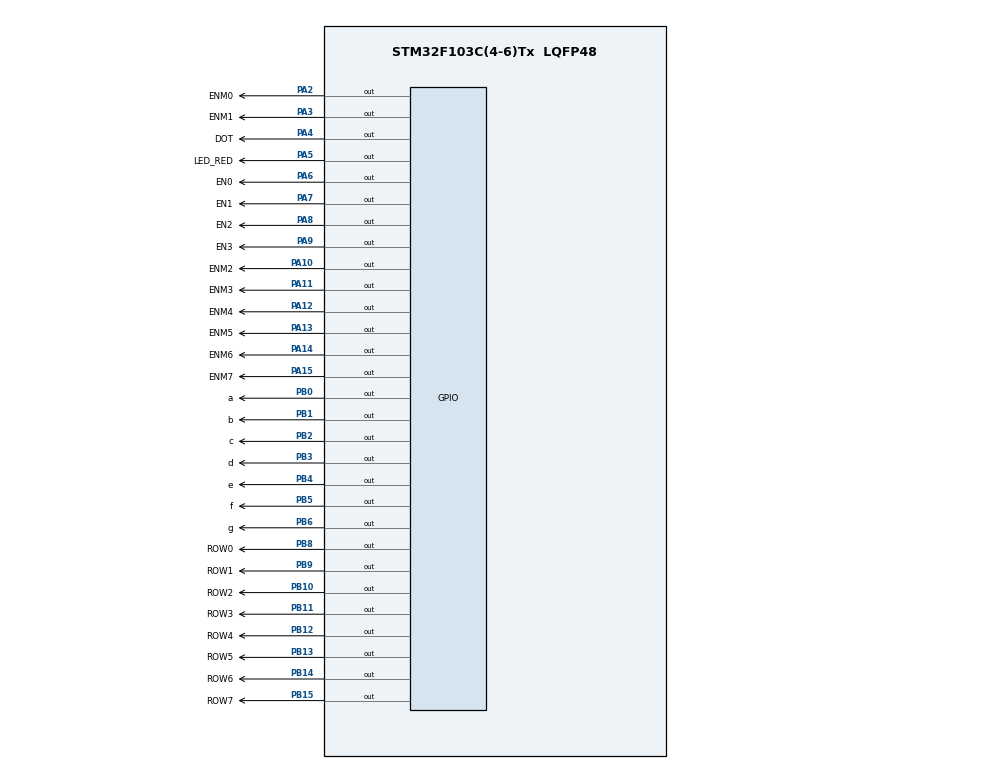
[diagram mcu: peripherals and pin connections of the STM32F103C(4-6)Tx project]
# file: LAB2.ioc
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Mcu.Family=STM32F1
Mcu.Name=STM32F103C(4-6)Tx
Mcu.Package=LQFP48
NVIC.PriorityGroup=NVIC_PRIORITYGROUP_4
NVIC.TIM2_IRQn=true\:0\:0\:false\:false\:true\:true\:true
PA10.GPIO_Label=ENM2
PA10.Signal=GPIO_Output
PA11.GPIO_Label=ENM3
PA11.Signal=GPIO_Output
PA12.GPIO_Label=ENM4
PA12.Signal=GPIO_Output
PA13.GPIO_Label=ENM5
PA13.Signal=GPIO_Output
PA14.GPIO_Label=ENM6
PA14.Signal=GPIO_Output
PA15.GPIO_Label=ENM7
PA15.Signal=GPIO_Output
PA2.GPIO_Label=ENM0
PA2.Signal=GPIO_Output
PA3.GPIO_Label=ENM1
PA3.Signal=GPIO_Output
PA4.GPIO_Label=DOT
PA4.Signal=GPIO_Output
PA5.GPIO_Label=LED_RED
PA5.Signal=GPIO_Output
PA6.GPIO_Label=EN0
PA6.Signal=GPIO_Output
PA7.GPIO_Label=EN1
PA7.Signal=GPIO_Output
PA8.GPIO_Label=EN2
PA8.Signal=GPIO_Output
PA9.GPIO_Label=EN3
PA9.Signal=GPIO_Output
PB0.GPIO_Label=a
PB0.Signal=GPIO_Output
PB1.GPIO_Label=b
PB1.Signal=GPIO_Output
PB10.GPIO_Label=ROW2
PB10.Signal=GPIO_Output
PB11.GPIO_Label=ROW3
PB11.Signal=GPIO_Output
PB12.GPIO_Label=ROW4
PB12.Signal=GPIO_Output
PB13.GPIO_Label=ROW5
PB13.Signal=GPIO_Output
PB14.GPIO_Label=ROW6
PB14.Signal=GPIO_Output
PB15.GPIO_Label=ROW7
PB15.Signal=GPIO_Output
PB2.GPIO_Label=c
PB2.Signal=GPIO_Output
PB3.GPIO_Label=d
PB3.Signal=GPIO_Output
PB4.GPIO_Label=e
PB4.Signal=GPIO_Output
PB5.GPIO_Label=f
PB5.Signal=GPIO_Output
PB6.GPIO_Label=g
PB6.Signal=GPIO_Output
PB8.GPIO_Label=ROW0
PB8.Signal=GPIO_Output
PB9.GPIO_Label=ROW1
PB9.Signal=GPIO_Output
ProjectManager.HeapSize=0x200
ProjectManager.StackSize=0x400
ProjectManager.TargetToolchain=STM32CubeIDE
RCC.APB1Freq_Value=8000000
RCC.APB2Freq_Value=8000000
TIM2.Period=9
TIM2.Prescaler=7999
VP_SYS_VS_ND.Mode=No_Debug
VP_TIM2_VS_ClockSourceINT.Mode=Internal
board=custom

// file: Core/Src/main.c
/* USER CODE BEGIN Header */
/**
  ******************************************************************************
  * @file           : main.c
  * @brief          : Main program body
  ******************************************************************************
  * @attention
  *
  * <h2><center>&copy; Copyright (c) 2024 STMicroelectronics.
  * All rights reserved.</center></h2>
  *
  * This software component is licensed by ST under BSD 3-Clause license,
  * the "License"; You may not use this file except in compliance with the
  * License. You may obtain a copy of the License at:
  *                        opensource.org/licenses/BSD-3-Clause
  *
  ******************************************************************************
  */
/* USER CODE END Header */
#include "main.h"

/* USER CODE BEGIN Includes */
#include "software_timer.h"
/* USER CODE END Includes */

TIM_HandleTypeDef htim2;

void SystemClock_Config(void);
static void MX_GPIO_Init(void);
static void MX_TIM2_Init(void);

/* USER CODE BEGIN 0 */
const uint8_t Led7Seg[] = { 0b11000000, 0b11111001, 0b10100100, 0b10110000, 0b10011001, 0b10010010,
		0b10000010, 0b11111000, 0b10000000, 0b10010000  };
const int MAX_LED = 4;
  int index_led = 0;
void display7SEG(int num){
	uint8_t led_id = Led7Seg[num];
	HAL_GPIO_WritePin(a_GPIO_Port, a_Pin, (led_id & 0x01) );
	HAL_GPIO_WritePin(b_GPIO_Port, b_Pin, ((led_id>>1) & 0x01) );
	HAL_GPIO_WritePin(c_GPIO_Port, c_Pin, ((led_id>>2) & 0x01) );
	HAL_GPIO_WritePin(d_GPIO_Port, d_Pin, ((led_id>>3) & 0x01) );
	HAL_GPIO_WritePin(e_GPIO_Port, e_Pin, ((led_id>>4) & 0x01) );
	HAL_GPIO_WritePin(f_GPIO_Port, f_Pin, ((led_id>>5) & 0x01) );
	HAL_GPIO_WritePin(g_GPIO_Port, g_Pin, ((led_id>>6) & 0x01) );
}

void clearAll(){
	HAL_GPIO_WritePin(GPIOA, EN0_Pin | EN1_Pin |EN2_Pin | EN3_Pin, SET);
	HAL_GPIO_WritePin(GPIOB, a_Pin | b_Pin | c_Pin | d_Pin | e_Pin | f_Pin | g_Pin, SET);
}

int en_pin[4]={ EN0_Pin, EN1_Pin,EN2_Pin,EN3_Pin};

void en_Pin(int number){
	HAL_GPIO_WritePin(GPIOA, en_pin[number] , RESET);
}
int led_buffer [4] = {1 , 2 , 3 , 4};
void update7SEG(int index){
	clearAll();
	switch (index){
	case 0:{
		display7SEG(led_buffer[0]);
		en_Pin(0);
		break;
	}
	case 1:{
			display7SEG(led_buffer[1]);
			en_Pin(1);
			break;
		}
	case 2:{
			display7SEG(led_buffer[2]);
			en_Pin(2);
			break;
		}
	case 3:{
			display7SEG(led_buffer[3]);
			en_Pin(3);
			break;
		}
	default:
		break;
	}
}
int hour = 15 , minute = 8 , second = 50;

void updateClockBuffer(){
		led_buffer[0] = hour/10;
		led_buffer[1] = hour%10;
		led_buffer[2] = minute/10;
		led_buffer[3] = minute%10;
}

/* USER CODE END 0 */

int main(void)
{

  /* MCU Configuration--------------------------------------------------------*/

  /* Reset of all peripherals, Initializes the Flash interface and the Systick. */
  HAL_Init();

  /* Configure the system clock */
  SystemClock_Config();

  /* Initialize all configured peripherals */
  MX_GPIO_Init();
  MX_TIM2_Init();
  /* USER CODE BEGIN 2 */
  HAL_TIM_Base_Start_IT(&htim2);
  /* USER CODE END 2 */

  /* Infinite loop */
  /* USER CODE BEGIN WHILE */
  setTimer1(100);
  setTimer2(25);
  setTimer3(100);

  while (1)
  {

	  	  	  if (timer1_flag == 1){
	  	  		  setTimer1(100);
	  	  		  second++;
	  	  		  if(second>=60){
	  	  			  second=0;
	  	  			  minute++;
	  	  		  }
	  	  		  if(minute>=60){
	  	  			  minute=0;
	  	  			  hour++;
	  	  		  }
	  	  		  if(hour>=24){
	  	  			 hour=0;
	  	  		  }
	  	  		  updateClockBuffer();
	  	  	  }
	  	  	  if(timer2_flag==1){
	  	  		  setTimer2(25);
	  	  		  update7SEG(index_led++);
	  	  		  if(index_led >= MAX_LED)
	  	  			  index_led = 0 ;
	  				}
	  	  	  if(timer3_flag == 1){
	  	  		  setTimer3(100) ;
	  			HAL_GPIO_TogglePin(LED_RED_GPIO_Port, LED_RED_Pin) ;
	  			HAL_GPIO_TogglePin(DOT_GPIO_Port, DOT_Pin);
	  	  	  }
    /* USER CODE END WHILE */

  }
}

void SystemClock_Config(void)
{
  RCC_OscInitTypeDef RCC_OscInitStruct = {0};
  RCC_ClkInitTypeDef RCC_ClkInitStruct = {0};

  /** Initializes the RCC Oscillators according to the specified parameters
  * in the RCC_OscInitTypeDef structure.
  */
  RCC_OscInitStruct.OscillatorType = RCC_OSCILLATORTYPE_HSI;
  RCC_OscInitStruct.HSIState = RCC_HSI_ON;
  RCC_OscInitStruct.HSICalibrationValue = RCC_HSICALIBRATION_DEFAULT;
  RCC_OscInitStruct.PLL.PLLState = RCC_PLL_NONE;
  if (HAL_RCC_OscConfig(&RCC_OscInitStruct) != HAL_OK)
  {
    Error_Handler();
  }
  /** Initializes the CPU, AHB and APB buses clocks
  */
  RCC_ClkInitStruct.ClockType = RCC_CLOCKTYPE_HCLK|RCC_CLOCKTYPE_SYSCLK
                              |RCC_CLOCKTYPE_PCLK1|RCC_CLOCKTYPE_PCLK2;
  RCC_ClkInitStruct.SYSCLKSource = RCC_SYSCLKSOURCE_HSI;
  RCC_ClkInitStruct.AHBCLKDivider = RCC_SYSCLK_DIV1;
  RCC_ClkInitStruct.APB1CLKDivider = RCC_HCLK_DIV1;
  RCC_ClkInitStruct.APB2CLKDivider = RCC_HCLK_DIV1;

  if (HAL_RCC_ClockConfig(&RCC_ClkInitStruct, FLASH_LATENCY_0) != HAL_OK)
  {
    Error_Handler();
  }
}

static void MX_TIM2_Init(void)
{

  TIM_ClockConfigTypeDef sClockSourceConfig = {0};
  TIM_MasterConfigTypeDef sMasterConfig = {0};

  htim2.Instance = TIM2;
  htim2.Init.Prescaler = 7999;
  htim2.Init.CounterMode = TIM_COUNTERMODE_UP;
  htim2.Init.Period = 9;
  htim2.Init.ClockDivision = TIM_CLOCKDIVISION_DIV1;
  htim2.Init.AutoReloadPreload = TIM_AUTORELOAD_PRELOAD_DISABLE;
  if (HAL_TIM_Base_Init(&htim2) != HAL_OK)
  {
    Error_Handler();
  }
  sClockSourceConfig.ClockSource = TIM_CLOCKSOURCE_INTERNAL;
  if (HAL_TIM_ConfigClockSource(&htim2, &sClockSourceConfig) != HAL_OK)
  {
    Error_Handler();
  }
  sMasterConfig.MasterOutputTrigger = TIM_TRGO_RESET;
  sMasterConfig.MasterSlaveMode = TIM_MASTERSLAVEMODE_DISABLE;
  if (HAL_TIMEx_MasterConfigSynchronization(&htim2, &sMasterConfig) != HAL_OK)
  {
    Error_Handler();
  }

}

static void MX_GPIO_Init(void)
{
  GPIO_InitTypeDef GPIO_InitStruct = {0};

  /* GPIO Ports Clock Enable */
  __HAL_RCC_GPIOA_CLK_ENABLE();
  __HAL_RCC_GPIOB_CLK_ENABLE();

  /*Configure GPIO pin Output Level */
  HAL_GPIO_WritePin(GPIOA, DOT_Pin|LED_RED_Pin|EN0_Pin|EN1_Pin
                          |EN2_Pin|EN3_Pin, GPIO_PIN_RESET);

  /*Configure GPIO pin Output Level */
  HAL_GPIO_WritePin(GPIOB, a_Pin|b_Pin|c_Pin|d_Pin
                          |e_Pin|f_Pin|g_Pin, GPIO_PIN_RESET);

  /*Configure GPIO pins : DOT_Pin LED_RED_Pin EN0_Pin EN1_Pin
                           EN2_Pin EN3_Pin */
  GPIO_InitStruct.Pin = DOT_Pin|LED_RED_Pin|EN0_Pin|EN1_Pin
                          |EN2_Pin|EN3_Pin;
  GPIO_InitStruct.Mode = GPIO_MODE_OUTPUT_PP;
  GPIO_InitStruct.Pull = GPIO_NOPULL;
  GPIO_InitStruct.Speed = GPIO_SPEED_FREQ_LOW;
  HAL_GPIO_Init(GPIOA, &GPIO_InitStruct);

  /*Configure GPIO pins : a_Pin b_Pin c_Pin d_Pin
                           e_Pin f_Pin g_Pin */
  GPIO_InitStruct.Pin = a_Pin|b_Pin|c_Pin|d_Pin
                          |e_Pin|f_Pin|g_Pin;
  GPIO_InitStruct.Mode = GPIO_MODE_OUTPUT_PP;
  GPIO_InitStruct.Pull = GPIO_NOPULL;
  GPIO_InitStruct.Speed = GPIO_SPEED_FREQ_LOW;
  HAL_GPIO_Init(GPIOB, &GPIO_InitStruct);

}

/* USER CODE BEGIN 4 */

void HAL_TIM_PeriodElapsedCallback(TIM_HandleTypeDef *htim){
	timerRun();
}
/* USER CODE END 4 */

void Error_Handler(void)
{
  __disable_irq();
  while (1)
  {
  }
}

/************************ (C) COPYRIGHT STMicroelectronics *****END OF FILE****/
